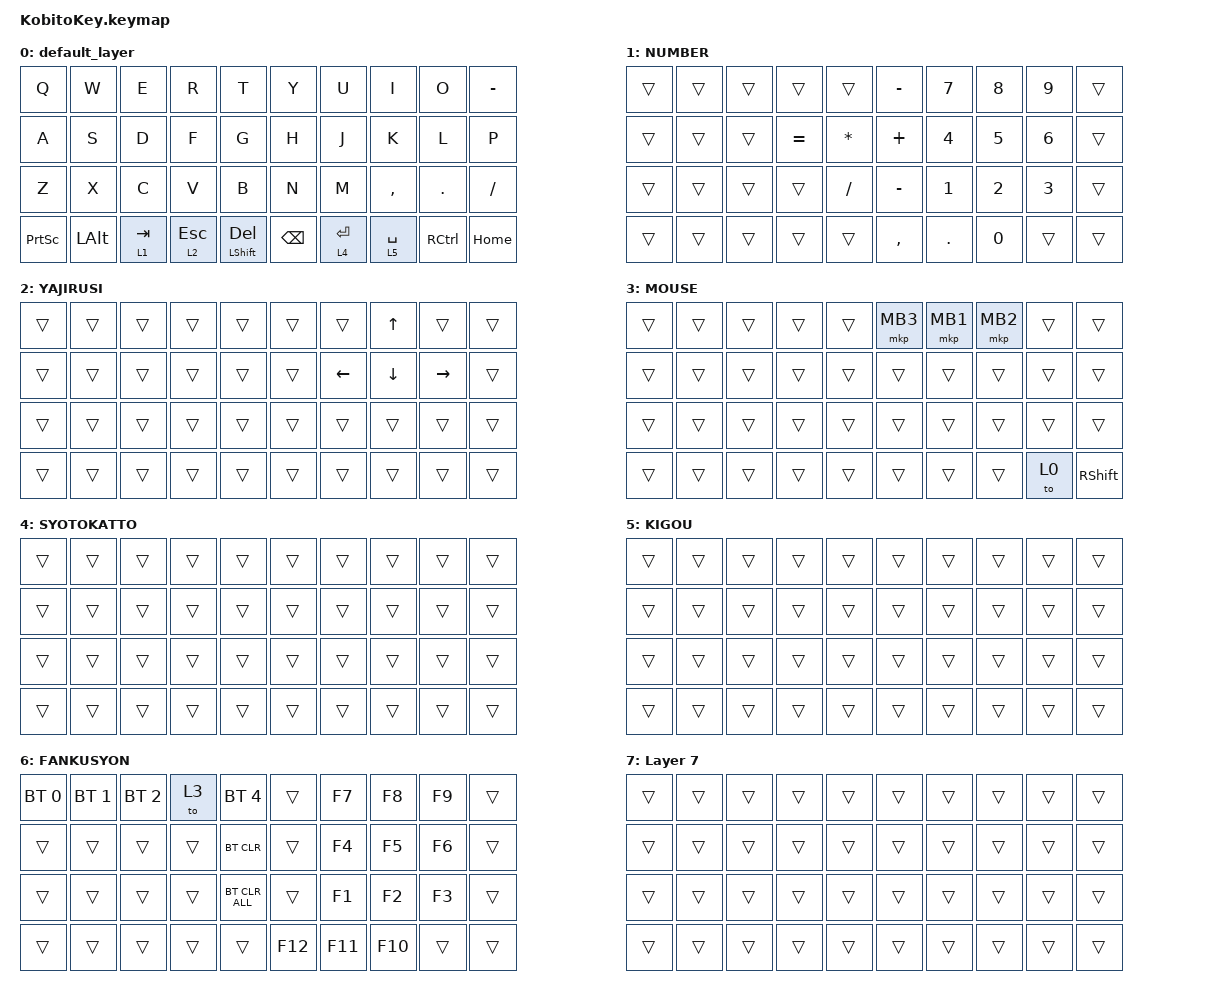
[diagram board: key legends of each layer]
#include <input/processors.dtsi>
#include <behaviors.dtsi>
#include <dt-bindings/zmk/bt.h>
#include <dt-bindings/zmk/keys.h>
#include <dt-bindings/zmk/pointing.h>

/ {
    combos {
        compatible = "zmk,combos";

        combo_eisu {
            timeout-ms = <50>;
            key-positions = <12 13>;
            bindings = <&kp LANG2>;
        };

        combo_kana {
            timeout-ms = <50>;
            key-positions = <16 17>;
            bindings = <&kp LANG1>;
        };

    };

    keymap {
        compatible = "zmk,keymap";

        default_layer {
            bindings = <
&kp Q            &kp W            &kp E            &kp R            &kp T            &kp Y            &kp U            &kp I            &kp O            &kp MINUS
&kp A            &kp S            &kp D            &kp F            &kp G            &kp H            &kp J            &kp K            &kp L            &kp P
&kp Z            &kp X            &kp C            &kp V            &kp B            &kp N            &kp M            &kp COMMA        &kp DOT          &kp SLASH
&kp PSCRN        &kp LALT         &lt 1 TAB        &lt 2 ESC        &mt LSHFT DEL    &kp BSPC         &lt 4 ENTER      &lt 5 SPACE      &kp RCTRL        &kp HOME
            >;
        };

        layer1 {
            label = "NUMBER";
            bindings = <
&trans     &trans     &trans     &trans     &trans     &kp MINUS  &kp N7     &kp N8     &kp N9     &trans
&trans     &trans     &trans     &kp EQUAL  &kp ASTRK  &kp PLUS   &kp N4     &kp N5     &kp N6     &trans
&trans     &trans     &trans     &trans     &kp SLASH  &kp MINUS  &kp N1     &kp N2     &kp N3     &trans
&trans     &trans     &trans     &trans     &trans     &kp COMMA  &kp DOT    &kp N0     &trans     &trans
            >;
        };

        layer2 {
            label = "YAJIRUSI";
            bindings = <
&trans     &trans     &trans     &trans     &trans     &trans     &trans     &kp UP     &trans     &trans
&trans     &trans     &trans     &trans     &trans     &trans     &kp LEFT   &kp DOWN   &kp RIGHT  &trans
&trans     &trans     &trans     &trans     &trans     &trans     &trans     &trans     &trans     &trans
&trans     &trans     &trans     &trans     &trans     &trans     &trans     &trans     &trans     &trans
            >;
        };

        layer3 {
            label = "MOUSE";
            bindings = <
&trans     &trans     &trans     &trans     &trans     &mkp MB3   &mkp MB1   &mkp MB2   &trans     &trans
&trans     &trans     &trans     &trans     &trans     &trans     &trans     &trans     &trans     &trans
&trans     &trans     &trans     &trans     &trans     &trans     &trans     &trans     &trans     &trans
&trans     &trans     &trans     &trans     &trans     &trans     &trans     &trans     &to 0      &kp RSHFT
            >;
        };

        layer4 {
            label = "SYOTOKATTO";
            bindings = <
        &trans   &trans   &trans   &trans   &trans   &trans   &trans   &trans   &trans   &trans
        &trans   &trans   &trans   &trans   &trans   &trans   &trans   &trans   &trans   &trans
        &trans   &trans   &trans   &trans   &trans   &trans   &trans   &trans   &trans   &trans
        &trans   &trans   &trans   &trans   &trans   &trans   &trans   &trans   &trans   &trans
            >;
        };

        layer5 {
            label = "KIGOU";
            bindings = <
        &trans   &trans   &trans   &trans   &trans   &trans   &trans   &trans   &trans   &trans
        &trans   &trans   &trans   &trans   &trans   &trans   &trans   &trans   &trans   &trans
        &trans   &trans   &trans   &trans   &trans   &trans   &trans   &trans   &trans   &trans
        &trans   &trans   &trans   &trans   &trans   &trans   &trans   &trans   &trans   &trans
            >;
        };

        layer6 {
            label = "FANKUSYON";
            bindings = <
&bt BT_SEL 0    &bt BT_SEL 1    &bt BT_SEL 2    &to 3           &bt BT_SEL 4    &trans          &kp F7          &kp F8          &kp F9          &trans
&trans          &trans          &trans          &trans          &bt BT_CLR      &trans          &kp F4          &kp F5          &kp F6          &trans
&trans          &trans          &trans          &trans          &bt BT_CLR_ALL  &trans          &kp F1          &kp F2          &kp F3          &trans
&trans          &trans          &trans          &trans          &trans          &kp F12         &kp F11         &kp F10         &trans          &trans
            >;
        };

        layer7 {
            label = "Layer 7";
            bindings = <
        &trans   &trans   &trans   &trans   &trans   &trans   &trans   &trans   &trans   &trans
        &trans   &trans   &trans   &trans   &trans   &trans   &trans   &trans   &trans   &trans
        &trans   &trans   &trans   &trans   &trans   &trans   &trans   &trans   &trans   &trans
        &trans   &trans   &trans   &trans   &trans   &trans   &trans   &trans   &trans   &trans
            >;
        };
    };
};
